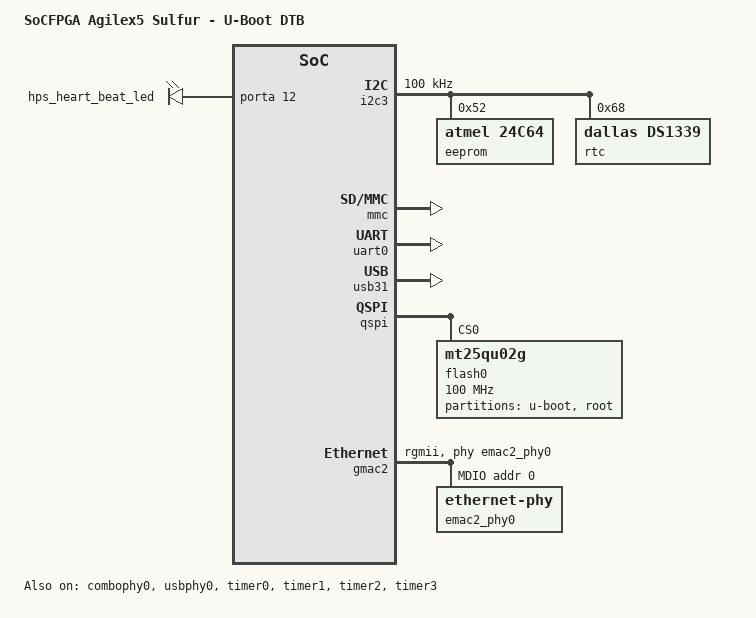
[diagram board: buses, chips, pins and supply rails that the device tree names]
/*
 * Copyright (C) 2019-2023 Intel Corporation <www.intel.com> 
 */
#include "socfpga_agilex5.dtsi"

/ {
	model = "SoCFPGA Agilex5 Sulfur - U-Boot DTB";

	aliases {
		serial0 = &uart0;
		ethernet2 = &gmac2;
	};

	leds {
		compatible = "gpio-leds";
		
		hps1 {
			label = "hps_heart_beat_led";
			gpios = <&porta 12 GPIO_ACTIVE_HIGH>;
		};
	};

	memory {
		device_type = "memory";
		/* We expect the bootloader to fill in the reg */
		reg = <0 0 0 0>;
	};

	reserved-memory {
		free_reserved: freearea@8e0000000 {
			reg = <0x08 0xe0000000 0x00 0x20000000>;	/* 512MB */
			alignment = <0x1000>;
			no-map;
		};
	};

	soc {
		clocks {
			osc1 {
				clock-frequency = <100000000>;
			};
		};
	};
};

&gpio0 {
	status = "okay";
};

&gpio1 {
	status = "okay";
};

&i2c3 {
	clock-frequency = <100000>;
	status = "okay";
	
	eeprom@52 {
		compatible = "atmel,24c64";
		reg = <0x52>;
		pagesize = <0x20>;
	};
	
	rtc@68 {
		compatible = "dallas,ds1339";
		reg = <0x68>;
	};
};

&i3c0 {
	status = "disabled";
};

&i3c1 {
	status = "disabled";
};

&mmc {
	status = "okay";
};

&combophy0 {
	status = "okay";
};

&uart0 {
	status = "okay";
};

&usbphy0 {
	status = "okay";
};

&usb0 {
	status = "disabled";
	disable-over-current;
};

&usb31 {
	status = "okay";
};

&watchdog0 {
	status = "disabled";
};

&watchdog1 {
	status = "disabled";
};

&watchdog2 {
	status = "disabled";
};

&watchdog3 {
	status = "disabled";
};

&watchdog4 {
	status = "disabled";
};

&timer0 {
	status = "okay";
};

&timer1 {
	status = "okay";
};

&timer2 {
	status = "okay";
};

&timer3 {
	status = "okay";
};

&spi0 {
	status = "disabled";
};

&spi1 {
	status = "disabled";
};

&nand {
	status = "disabled";

	flash1: flash@0 {
		reg = <0>;
		#address-cells = <1>;
		#size-cells = <1>;

		partition@0 {
			label = "u-boot";
			reg = <0 0x200000>;
		};
		partition@200000 {
			label = "root";
			reg = <0x200000 0x3fe00000>;
		};
	};
};

&qspi {
	flash0: flash@0 {
		#address-cells = <1>;
		#size-cells = <1>;
		compatible = "mt25qu02g";
		reg = <0>;
		spi-max-frequency = <100000000>;

		m25p,fast-read;
		cdns,page-size = <256>;
		cdns,block-size = <16>;
		cdns,read-delay = <1>;
		cdns,tshsl-ns = <50>;
		cdns,tsd2d-ns = <50>;
		cdns,tchsh-ns = <4>;
		cdns,tslch-ns = <4>;

		partitions {
			compatible = "fixed-partitions";
			#address-cells = <1>;
			#size-cells = <1>;

			qspi_boot: partition@0 {
				label = "u-boot";
				reg = <0x0 0x04200000>;
			};

			root: partition@4200000 {
				label = "root";
				reg = <0x04200000 0x0BE00000>;
			};
		};
	};
};

&gmac2 {
	status = "okay";
	phy-mode = "rgmii";
	phy-handle = <&emac2_phy0>;

	max-frame-size = <9000>;

	mdio0 {
		#address-cells = <1>;
		#size-cells = <0>;
		compatible = "snps,dwxgmac-mdio";
		emac2_phy0: ethernet-phy@0 {
			reg = <0>;
		};
	};
};
